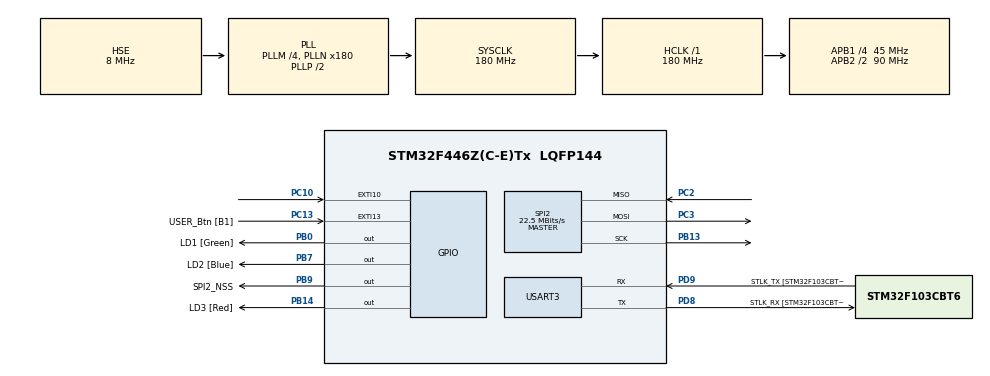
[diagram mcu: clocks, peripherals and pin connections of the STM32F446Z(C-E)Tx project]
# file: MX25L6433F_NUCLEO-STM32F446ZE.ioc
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Mcu.Family=STM32F4
Mcu.Name=STM32F446Z(C-E)Tx
Mcu.Package=LQFP144
NVIC.EXTI15_10_IRQn=true\:0\:0\:false\:false\:true\:true\:true\:true
NVIC.PriorityGroup=NVIC_PRIORITYGROUP_4
PA13.GPIO_Label=TMS
PA13.Mode=Serial_Wire
PA13.Signal=SYS_JTMS-SWDIO
PA14.GPIO_Label=TCK
PA14.Mode=Serial_Wire
PA14.Signal=SYS_JTCK-SWCLK
PB0.GPIO_Label=LD1 [Green]
PB0.Signal=GPIO_Output
PB13.Mode=Full_Duplex_Master
PB13.Signal=SPI2_SCK
PB14.GPIO_Label=LD3 [Red]
PB14.Signal=GPIO_Output
PB7.GPIO_Label=LD2 [Blue]
PB7.Signal=GPIO_Output
PB9.GPIO_Label=SPI2_NSS
PB9.Signal=GPIO_Output
PC10.GPIO_ModeDefaultEXTI=GPIO_MODE_IT_FALLING
PC10.Signal=GPXTI10
PC13.GPIO_Label=USER_Btn [B1]
PC13.Signal=GPXTI13
PC14-OSC32_IN.Mode=LSE-External-Oscillator
PC14-OSC32_IN.Signal=RCC_OSC32_IN
PC15-OSC32_OUT.Mode=LSE-External-Oscillator
PC15-OSC32_OUT.Signal=RCC_OSC32_OUT
PC2.Mode=Full_Duplex_Master
PC2.Signal=SPI2_MISO
PC3.Mode=Full_Duplex_Master
PC3.Signal=SPI2_MOSI
PD8.GPIO_Label=STLK_RX [STM32F103CBT6_PA3]
PD8.Mode=Asynchronous
PD8.Signal=USART3_TX
PD9.GPIO_Label=STLK_TX [STM32F103CBT6_PA2]
PD9.Mode=Asynchronous
PD9.Signal=USART3_RX
PH0-OSC_IN.GPIO_Label=MCO [STM32F103CBT6_PA8]
PH0-OSC_IN.Mode=HSE-External-Clock-Source
PH0-OSC_IN.Signal=RCC_OSC_IN
PH1-OSC_OUT.Mode=HSE-External-Clock-Source
PH1-OSC_OUT.Signal=RCC_OSC_OUT
ProjectManager.HeapSize=0x200
ProjectManager.StackSize=0x400
ProjectManager.TargetToolchain=STM32CubeIDE
RCC.48MHZClocksFreq_Value=24000000
RCC.AHBFreq_Value=180000000
RCC.APB1CLKDivider=RCC_HCLK_DIV4
RCC.APB1Freq_Value=45000000
RCC.APB1TimFreq_Value=90000000
RCC.APB2CLKDivider=RCC_HCLK_DIV2
RCC.APB2Freq_Value=90000000
RCC.APB2TimFreq_Value=180000000
RCC.CortexFreq_Value=180000000
RCC.HCLKFreq_Value=180000000
RCC.HSE_VALUE=8000000
RCC.HSI_VALUE=16000000
RCC.PLLM=4
RCC.PLLMUL=RCC_PLL_MUL9
RCC.PLLN=180
RCC.PLLQ=7
RCC.PLLSourceVirtual=RCC_PLLSOURCE_HSE
RCC.PRESCALERUSB=RCC_USBCLKSOURCE_PLL_DIV1_5
RCC.SYSCLKFreq_VALUE=180000000
RCC.SYSCLKSource=RCC_SYSCLKSOURCE_PLLCLK
RCC.SYSCLKSourceVirtual=RCC_SYSCLKSOURCE_PLLCLK
RCC.USBFreq_Value=51428571.428571425
RCC.VCOOutputFreq_Value=360000000
SPI2.BaudRatePrescaler=SPI_BAUDRATEPRESCALER_2
SPI2.CalculateBaudRate=22.5 MBits/s
SPI2.Direction=SPI_DIRECTION_2LINES
SPI2.Mode=SPI_MODE_MASTER
SPI2.VirtualType=VM_MASTER
USART3.VirtualMode=VM_ASYNC
board=NUCLEO-F446ZE

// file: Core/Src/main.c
/* USER CODE BEGIN Header */
/**
  ******************************************************************************
  * @file           : main.c
  * @brief          : Main program body
  ******************************************************************************
  * @attention
  *
  * Copyright (c) 2025 STMicroelectronics.
  * All rights reserved.
  *
  * This software is licensed under terms that can be found in the LICENSE file
  * in the root directory of this software component.
  * If no LICENSE file comes with this software, it is provided AS-IS.
  *
  ******************************************************************************
  */
/* USER CODE END Header */
#include "main.h"
#include "spi.h"
#include "usart.h"
#include "gpio.h"

/* USER CODE BEGIN Includes */
#include <string.h>
#include <stdio.h>
#include "mx25.h"
/* USER CODE END Includes */

/* USER CODE BEGIN PV */
uint8_t rx_data[8192];//][4608];

uint8_t tx_data[30];

uint8_t is_pressed = 0;

int idx = 0;
/* USER CODE END PV */

void SystemClock_Config(void);

/* USER CODE BEGIN 0 */
extern void mx25_misc (void);

/* USER CODE END 0 */

int main(void)
{

  /* USER CODE BEGIN 1 */
  uint32_t id = 0;
  /* USER CODE END 1 */

  /* MCU Configuration--------------------------------------------------------*/

  /* Reset of all peripherals, Initializes the Flash interface and the Systick. */
  HAL_Init();

  /* Configure the system clock */
  SystemClock_Config();

  /* Initialize all configured peripherals */
  MX_GPIO_Init();
  MX_USART3_UART_Init();
  MX_SPI2_Init();
  /* USER CODE BEGIN 2 */

  mx25_reset();
  id = mx25_readid();

  if (id != 0xc22017)
  {
      //mx25_erase_sector(0);
      //mx25_read(1, 85, rx_data, 20);
	  while(1);
  }

  //mx25_misc();
  /* USER CODE END 2 */

  /* Infinite loop */
  while (1)
  {

  }
}

void SystemClock_Config(void)
{
  RCC_OscInitTypeDef RCC_OscInitStruct = {0};
  RCC_ClkInitTypeDef RCC_ClkInitStruct = {0};

  /** Configure the main internal regulator output voltage
  */
  __HAL_RCC_PWR_CLK_ENABLE();
  __HAL_PWR_VOLTAGESCALING_CONFIG(PWR_REGULATOR_VOLTAGE_SCALE1);

  /** Initializes the RCC Oscillators according to the specified parameters
  * in the RCC_OscInitTypeDef structure.
  */
  RCC_OscInitStruct.OscillatorType = RCC_OSCILLATORTYPE_HSE;
  RCC_OscInitStruct.HSEState = RCC_HSE_BYPASS;
  RCC_OscInitStruct.PLL.PLLState = RCC_PLL_ON;
  RCC_OscInitStruct.PLL.PLLSource = RCC_PLLSOURCE_HSE;
  RCC_OscInitStruct.PLL.PLLM = 4;
  RCC_OscInitStruct.PLL.PLLN = 180;
  RCC_OscInitStruct.PLL.PLLP = RCC_PLLP_DIV2;
  RCC_OscInitStruct.PLL.PLLQ = 7;
  RCC_OscInitStruct.PLL.PLLR = 2;
  if (HAL_RCC_OscConfig(&RCC_OscInitStruct) != HAL_OK)
  {
    Error_Handler();
  }

  /** Activate the Over-Drive mode
  */
  if (HAL_PWREx_EnableOverDrive() != HAL_OK)
  {
    Error_Handler();
  }

  /** Initializes the CPU, AHB and APB buses clocks
  */
  RCC_ClkInitStruct.ClockType = RCC_CLOCKTYPE_HCLK|RCC_CLOCKTYPE_SYSCLK
                              |RCC_CLOCKTYPE_PCLK1|RCC_CLOCKTYPE_PCLK2;
  RCC_ClkInitStruct.SYSCLKSource = RCC_SYSCLKSOURCE_PLLCLK;
  RCC_ClkInitStruct.AHBCLKDivider = RCC_SYSCLK_DIV1;
  RCC_ClkInitStruct.APB1CLKDivider = RCC_HCLK_DIV4;
  RCC_ClkInitStruct.APB2CLKDivider = RCC_HCLK_DIV2;

  if (HAL_RCC_ClockConfig(&RCC_ClkInitStruct, FLASH_LATENCY_5) != HAL_OK)
  {
    Error_Handler();
  }
}

/* USER CODE BEGIN 4 */
void HAL_GPIO_EXTI_Callback(uint16_t GPIO_Pin)
{
	if (GPIO_Pin == (1 << 10))
	{
	    is_pressed = 1;
	}
}

/* USER CODE END 4 */

void Error_Handler(void)
{
  __disable_irq();
  while (1)
  {
  }
}
